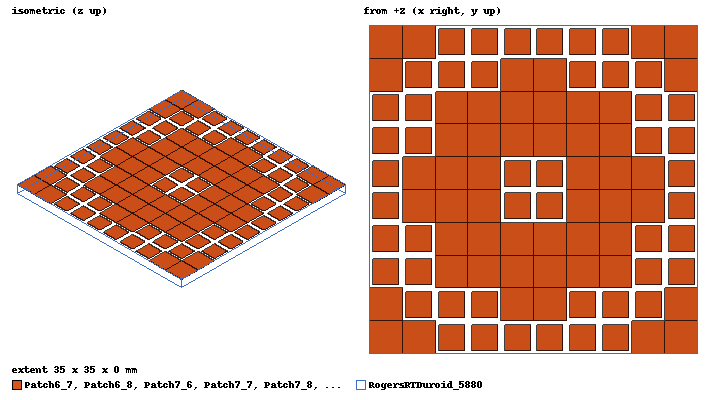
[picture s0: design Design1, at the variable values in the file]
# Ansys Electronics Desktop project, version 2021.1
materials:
  vacuum: permittivity=1

design Design1 (HFSS, DrivenModal, model units mm)
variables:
  X_sub = 3.5mm
  Y_sub = 3.5mm
  Z_sub = 1.57mm
  gap = 1mm
  Cop_T = 0.017mm
  m = 10
  n = 10
  X_offset = 3mm
  gap1_1 = 3.5mm
  gap1_2 = 3.5mm
  gap1_3 = 0.37019mm
  gap1_4 = 0.37019mm
  gap1_5 = 0.37019mm
  gap1_6 = 0.37019mm
  gap1_7 = 0.37019mm
  gap1_8 = 0.37019mm
  gap1_9 = 3.5mm
  gap1_10 = 3.5mm
  gap2_1 = 3.5mm
  gap2_2 = 0.37019mm
  gap2_3 = 0.37019mm
  gap2_4 = 0.37019mm
  gap2_5 = 3.5mm
  gap2_6 = 3.5mm
  gap2_7 = 0.37019mm
  gap2_8 = 0.37019mm
  gap2_9 = 0.37019mm
  gap2_10 = 3.5mm
  gap3_1 = 0.37019mm
  gap3_2 = 0.37019mm
  gap3_3 = 3.5mm
  gap3_4 = 3.5mm
  gap3_5 = 3.5mm
  gap3_6 = 3.5mm
  gap3_7 = 3.5mm
  gap3_8 = 3.5mm
  gap3_9 = 0.37019mm
  gap3_10 = 0.37019mm
  gap4_1 = 0.37019mm
  gap4_2 = 0.37019mm
  gap4_3 = 3.5mm
  gap4_4 = 3.5mm
  gap4_5 = 3.5mm
  gap4_6 = 3.5mm
  gap4_7 = 3.5mm
  gap4_8 = 3.5mm
  gap4_9 = 0.37019mm
  gap4_10 = 0.37019mm
  gap5_1 = 0.37019mm
  gap5_2 = 3.5mm
  gap5_3 = 3.5mm
  gap5_4 = 3.5mm
  gap5_5 = 0.37019mm
  gap5_6 = 0.37019mm
  gap5_7 = 3.5mm
  gap5_8 = 3.5mm
  gap5_9 = 3.5mm
  gap5_10 = 0.37019mm
  gap6_1 = 0.37019mm
  gap6_2 = 3.5mm
  gap6_3 = 3.5mm
  gap6_4 = 3.5mm
  gap6_5 = 0.37019mm
  gap6_6 = 0.37019mm
  gap6_7 = 3.5mm
  gap6_8 = 3.5mm
  gap6_9 = 3.5mm
  gap6_10 = 0.37019mm
  gap7_1 = 0.37019mm
  gap7_2 = 0.37019mm
  gap7_3 = 3.5mm
  gap7_4 = 3.5mm
  gap7_5 = 3.5mm
  gap7_6 = 3.5mm
  gap7_7 = 3.5mm
  gap7_8 = 3.5mm
  gap7_9 = 0.37019mm
  gap7_10 = 0.37019mm
  gap8_1 = 0.37019mm
  gap8_2 = 0.37019mm
  gap8_3 = 3.5mm
  gap8_4 = 3.5mm
  gap8_5 = 3.5mm
  gap8_6 = 3.5mm
  gap8_7 = 3.5mm
  gap8_8 = 3.5mm
  gap8_9 = 0.37019mm
  gap8_10 = 0.37019mm
  gap9_1 = 3.5mm
  gap9_2 = 0.37019mm
  gap9_3 = 0.37019mm
  gap9_4 = 0.37019mm
  gap9_5 = 3.5mm
  gap9_6 = 3.5mm
  gap9_7 = 0.37019mm
  gap9_8 = 0.37019mm
  gap9_9 = 0.37019mm
  gap9_10 = 3.5mm
  gap10_1 = 3.5mm
  gap10_2 = 3.5mm
  gap10_3 = 0.37019mm
  gap10_4 = 0.37019mm
  gap10_5 = 0.37019mm
  gap10_6 = 0.37019mm
  gap10_7 = 0.37019mm
  gap10_8 = 0.37019mm
  gap10_9 = 3.5mm
  gap10_10 = 3.5mm
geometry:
  RogersRTDuroid_5880 [vacuum] = box(corner=(0, 0, 0), size=(m*X_sub, n*Y_sub, Z_sub))
  Patch1_1 = polyline(z=Z_sub, xy: (gap1_1, gap1_1) (X_sub-gap1_1, gap1_1) (X_sub-gap1_1, Y_sub-gap1_1) (gap1_1, Y_sub-gap1_1) (gap1_1, gap1_1), closed, covered)
  Patch1_1.move(0+(1-1)*X_sub, 0+(1-1)*Y_sub, 0)
  Patch1_2 = polyline(z=Z_sub, xy: (gap1_2, gap1_2) (X_sub-gap1_2, gap1_2) (X_sub-gap1_2, Y_sub-gap1_2) (gap1_2, Y_sub-gap1_2) (gap1_2, gap1_2), closed, covered)
  Patch1_2.move(0+(1-1)*X_sub, 0+(2-1)*Y_sub, 0)
  Patch1_3 = polyline(z=Z_sub, xy: (gap1_3, gap1_3) (X_sub-gap1_3, gap1_3) (X_sub-gap1_3, Y_sub-gap1_3) (gap1_3, Y_sub-gap1_3) (gap1_3, gap1_3), closed, covered)
  Patch1_3.move(0+(1-1)*X_sub, 0+(3-1)*Y_sub, 0)
  Patch1_4 = polyline(z=Z_sub, xy: (gap1_4, gap1_4) (X_sub-gap1_4, gap1_4) (X_sub-gap1_4, Y_sub-gap1_4) (gap1_4, Y_sub-gap1_4) (gap1_4, gap1_4), closed, covered)
  Patch1_4.move(0+(1-1)*X_sub, 0+(4-1)*Y_sub, 0)
  Patch1_5 = polyline(z=Z_sub, xy: (gap1_5, gap1_5) (X_sub-gap1_5, gap1_5) (X_sub-gap1_5, Y_sub-gap1_5) (gap1_5, Y_sub-gap1_5) (gap1_5, gap1_5), closed, covered)
  Patch1_5.move(0+(1-1)*X_sub, 0+(5-1)*Y_sub, 0)
  Patch1_6 = polyline(z=Z_sub, xy: (gap1_6, gap1_6) (X_sub-gap1_6, gap1_6) (X_sub-gap1_6, Y_sub-gap1_6) (gap1_6, Y_sub-gap1_6) (gap1_6, gap1_6), closed, covered)
  Patch1_6.move(0+(1-1)*X_sub, 0+(6-1)*Y_sub, 0)
  Patch1_7 = polyline(z=Z_sub, xy: (gap1_7, gap1_7) (X_sub-gap1_7, gap1_7) (X_sub-gap1_7, Y_sub-gap1_7) (gap1_7, Y_sub-gap1_7) (gap1_7, gap1_7), closed, covered)
  Patch1_7.move(0+(1-1)*X_sub, 0+(7-1)*Y_sub, 0)
  Patch1_8 = polyline(z=Z_sub, xy: (gap1_8, gap1_8) (X_sub-gap1_8, gap1_8) (X_sub-gap1_8, Y_sub-gap1_8) (gap1_8, Y_sub-gap1_8) (gap1_8, gap1_8), closed, covered)
  Patch1_8.move(0+(1-1)*X_sub, 0+(8-1)*Y_sub, 0)
  Patch1_9 = polyline(z=Z_sub, xy: (gap1_9, gap1_9) (X_sub-gap1_9, gap1_9) (X_sub-gap1_9, Y_sub-gap1_9) (gap1_9, Y_sub-gap1_9) (gap1_9, gap1_9), closed, covered)
  Patch1_9.move(0+(1-1)*X_sub, 0+(9-1)*Y_sub, 0)
  Patch1_10 = polyline(z=Z_sub, xy: (gap1_10, gap1_10) (X_sub-gap1_10, gap1_10) (X_sub-gap1_10, Y_sub-gap1_10) (gap1_10, Y_sub-gap1_10) (gap1_10, gap1_10), closed, covered)
  Patch1_10.move(0+(1-1)*X_sub, 0+(10-1)*Y_sub, 0)
  Patch2_1 = polyline(z=Z_sub, xy: (gap2_1, gap2_1) (X_sub-gap2_1, gap2_1) (X_sub-gap2_1, Y_sub-gap2_1) (gap2_1, Y_sub-gap2_1) (gap2_1, gap2_1), closed, covered)
  Patch2_1.move(0+(2-1)*X_sub, 0+(1-1)*Y_sub, 0)
  Patch2_2 = polyline(z=Z_sub, xy: (gap2_2, gap2_2) (X_sub-gap2_2, gap2_2) (X_sub-gap2_2, Y_sub-gap2_2) (gap2_2, Y_sub-gap2_2) (gap2_2, gap2_2), closed, covered)
  Patch2_2.move(0+(2-1)*X_sub, 0+(2-1)*Y_sub, 0)
  Patch2_3 = polyline(z=Z_sub, xy: (gap2_3, gap2_3) (X_sub-gap2_3, gap2_3) (X_sub-gap2_3, Y_sub-gap2_3) (gap2_3, Y_sub-gap2_3) (gap2_3, gap2_3), closed, covered)
  Patch2_3.move(0+(2-1)*X_sub, 0+(3-1)*Y_sub, 0)
  Patch2_4 = polyline(z=Z_sub, xy: (gap2_4, gap2_4) (X_sub-gap2_4, gap2_4) (X_sub-gap2_4, Y_sub-gap2_4) (gap2_4, Y_sub-gap2_4) (gap2_4, gap2_4), closed, covered)
  Patch2_4.move(0+(2-1)*X_sub, 0+(4-1)*Y_sub, 0)
  Patch2_5 = polyline(z=Z_sub, xy: (gap2_5, gap2_5) (X_sub-gap2_5, gap2_5) (X_sub-gap2_5, Y_sub-gap2_5) (gap2_5, Y_sub-gap2_5) (gap2_5, gap2_5), closed, covered)
  Patch2_5.move(0+(2-1)*X_sub, 0+(5-1)*Y_sub, 0)
  Patch2_6 = polyline(z=Z_sub, xy: (gap2_6, gap2_6) (X_sub-gap2_6, gap2_6) (X_sub-gap2_6, Y_sub-gap2_6) (gap2_6, Y_sub-gap2_6) (gap2_6, gap2_6), closed, covered)
  Patch2_6.move(0+(2-1)*X_sub, 0+(6-1)*Y_sub, 0)
  Patch2_7 = polyline(z=Z_sub, xy: (gap2_7, gap2_7) (X_sub-gap2_7, gap2_7) (X_sub-gap2_7, Y_sub-gap2_7) (gap2_7, Y_sub-gap2_7) (gap2_7, gap2_7), closed, covered)
  Patch2_7.move(0+(2-1)*X_sub, 0+(7-1)*Y_sub, 0)
  Patch2_8 = polyline(z=Z_sub, xy: (gap2_8, gap2_8) (X_sub-gap2_8, gap2_8) (X_sub-gap2_8, Y_sub-gap2_8) (gap2_8, Y_sub-gap2_8) (gap2_8, gap2_8), closed, covered)
  Patch2_8.move(0+(2-1)*X_sub, 0+(8-1)*Y_sub, 0)
  Patch2_9 = polyline(z=Z_sub, xy: (gap2_9, gap2_9) (X_sub-gap2_9, gap2_9) (X_sub-gap2_9, Y_sub-gap2_9) (gap2_9, Y_sub-gap2_9) (gap2_9, gap2_9), closed, covered)
  Patch2_9.move(0+(2-1)*X_sub, 0+(9-1)*Y_sub, 0)
  Patch2_10 = polyline(z=Z_sub, xy: (gap2_10, gap2_10) (X_sub-gap2_10, gap2_10) (X_sub-gap2_10, Y_sub-gap2_10) (gap2_10, Y_sub-gap2_10) (gap2_10, gap2_10), closed, covered)
  Patch2_10.move(0+(2-1)*X_sub, 0+(10-1)*Y_sub, 0)
  Patch3_1 = polyline(z=Z_sub, xy: (gap3_1, gap3_1) (X_sub-gap3_1, gap3_1) (X_sub-gap3_1, Y_sub-gap3_1) (gap3_1, Y_sub-gap3_1) (gap3_1, gap3_1), closed, covered)
  Patch3_1.move(0+(3-1)*X_sub, 0+(1-1)*Y_sub, 0)
  Patch3_2 = polyline(z=Z_sub, xy: (gap3_2, gap3_2) (X_sub-gap3_2, gap3_2) (X_sub-gap3_2, Y_sub-gap3_2) (gap3_2, Y_sub-gap3_2) (gap3_2, gap3_2), closed, covered)
  Patch3_2.move(0+(3-1)*X_sub, 0+(2-1)*Y_sub, 0)
  Patch3_3 = polyline(z=Z_sub, xy: (gap3_3, gap3_3) (X_sub-gap3_3, gap3_3) (X_sub-gap3_3, Y_sub-gap3_3) (gap3_3, Y_sub-gap3_3) (gap3_3, gap3_3), closed, covered)
  Patch3_3.move(0+(3-1)*X_sub, 0+(3-1)*Y_sub, 0)
  Patch3_4 = polyline(z=Z_sub, xy: (gap3_4, gap3_4) (X_sub-gap3_4, gap3_4) (X_sub-gap3_4, Y_sub-gap3_4) (gap3_4, Y_sub-gap3_4) (gap3_4, gap3_4), closed, covered)
  Patch3_4.move(0+(3-1)*X_sub, 0+(4-1)*Y_sub, 0)
  Patch3_5 = polyline(z=Z_sub, xy: (gap3_5, gap3_5) (X_sub-gap3_5, gap3_5) (X_sub-gap3_5, Y_sub-gap3_5) (gap3_5, Y_sub-gap3_5) (gap3_5, gap3_5), closed, covered)
  Patch3_5.move(0+(3-1)*X_sub, 0+(5-1)*Y_sub, 0)
  Patch3_6 = polyline(z=Z_sub, xy: (gap3_6, gap3_6) (X_sub-gap3_6, gap3_6) (X_sub-gap3_6, Y_sub-gap3_6) (gap3_6, Y_sub-gap3_6) (gap3_6, gap3_6), closed, covered)
  Patch3_6.move(0+(3-1)*X_sub, 0+(6-1)*Y_sub, 0)
  Patch3_7 = polyline(z=Z_sub, xy: (gap3_7, gap3_7) (X_sub-gap3_7, gap3_7) (X_sub-gap3_7, Y_sub-gap3_7) (gap3_7, Y_sub-gap3_7) (gap3_7, gap3_7), closed, covered)
  Patch3_7.move(0+(3-1)*X_sub, 0+(7-1)*Y_sub, 0)
  Patch3_8 = polyline(z=Z_sub, xy: (gap3_8, gap3_8) (X_sub-gap3_8, gap3_8) (X_sub-gap3_8, Y_sub-gap3_8) (gap3_8, Y_sub-gap3_8) (gap3_8, gap3_8), closed, covered)
  Patch3_8.move(0+(3-1)*X_sub, 0+(8-1)*Y_sub, 0)
  Patch3_9 = polyline(z=Z_sub, xy: (gap3_9, gap3_9) (X_sub-gap3_9, gap3_9) (X_sub-gap3_9, Y_sub-gap3_9) (gap3_9, Y_sub-gap3_9) (gap3_9, gap3_9), closed, covered)
  Patch3_9.move(0+(3-1)*X_sub, 0+(9-1)*Y_sub, 0)
  Patch3_10 = polyline(z=Z_sub, xy: (gap3_10, gap3_10) (X_sub-gap3_10, gap3_10) (X_sub-gap3_10, Y_sub-gap3_10) (gap3_10, Y_sub-gap3_10) (gap3_10, gap3_10), closed, covered)
  Patch3_10.move(0+(3-1)*X_sub, 0+(10-1)*Y_sub, 0)
  Patch4_1 = polyline(z=Z_sub, xy: (gap4_1, gap4_1) (X_sub-gap4_1, gap4_1) (X_sub-gap4_1, Y_sub-gap4_1) (gap4_1, Y_sub-gap4_1) (gap4_1, gap4_1), closed, covered)
  Patch4_1.move(0+(4-1)*X_sub, 0+(1-1)*Y_sub, 0)
  Patch4_2 = polyline(z=Z_sub, xy: (gap4_2, gap4_2) (X_sub-gap4_2, gap4_2) (X_sub-gap4_2, Y_sub-gap4_2) (gap4_2, Y_sub-gap4_2) (gap4_2, gap4_2), closed, covered)
  Patch4_2.move(0+(4-1)*X_sub, 0+(2-1)*Y_sub, 0)
  Patch4_3 = polyline(z=Z_sub, xy: (gap4_3, gap4_3) (X_sub-gap4_3, gap4_3) (X_sub-gap4_3, Y_sub-gap4_3) (gap4_3, Y_sub-gap4_3) (gap4_3, gap4_3), closed, covered)
  Patch4_3.move(0+(4-1)*X_sub, 0+(3-1)*Y_sub, 0)
  Patch4_4 = polyline(z=Z_sub, xy: (gap4_4, gap4_4) (X_sub-gap4_4, gap4_4) (X_sub-gap4_4, Y_sub-gap4_4) (gap4_4, Y_sub-gap4_4) (gap4_4, gap4_4), closed, covered)
  Patch4_4.move(0+(4-1)*X_sub, 0+(4-1)*Y_sub, 0)
  Patch4_5 = polyline(z=Z_sub, xy: (gap4_5, gap4_5) (X_sub-gap4_5, gap4_5) (X_sub-gap4_5, Y_sub-gap4_5) (gap4_5, Y_sub-gap4_5) (gap4_5, gap4_5), closed, covered)
  Patch4_5.move(0+(4-1)*X_sub, 0+(5-1)*Y_sub, 0)
  Patch4_6 = polyline(z=Z_sub, xy: (gap4_6, gap4_6) (X_sub-gap4_6, gap4_6) (X_sub-gap4_6, Y_sub-gap4_6) (gap4_6, Y_sub-gap4_6) (gap4_6, gap4_6), closed, covered)
  Patch4_6.move(0+(4-1)*X_sub, 0+(6-1)*Y_sub, 0)
  Patch4_7 = polyline(z=Z_sub, xy: (gap4_7, gap4_7) (X_sub-gap4_7, gap4_7) (X_sub-gap4_7, Y_sub-gap4_7) (gap4_7, Y_sub-gap4_7) (gap4_7, gap4_7), closed, covered)
  Patch4_7.move(0+(4-1)*X_sub, 0+(7-1)*Y_sub, 0)
  Patch4_8 = polyline(z=Z_sub, xy: (gap4_8, gap4_8) (X_sub-gap4_8, gap4_8) (X_sub-gap4_8, Y_sub-gap4_8) (gap4_8, Y_sub-gap4_8) (gap4_8, gap4_8), closed, covered)
  Patch4_8.move(0+(4-1)*X_sub, 0+(8-1)*Y_sub, 0)
  Patch4_9 = polyline(z=Z_sub, xy: (gap4_9, gap4_9) (X_sub-gap4_9, gap4_9) (X_sub-gap4_9, Y_sub-gap4_9) (gap4_9, Y_sub-gap4_9) (gap4_9, gap4_9), closed, covered)
  Patch4_9.move(0+(4-1)*X_sub, 0+(9-1)*Y_sub, 0)
  Patch4_10 = polyline(z=Z_sub, xy: (gap4_10, gap4_10) (X_sub-gap4_10, gap4_10) (X_sub-gap4_10, Y_sub-gap4_10) (gap4_10, Y_sub-gap4_10) (gap4_10, gap4_10), closed, covered)
  Patch4_10.move(0+(4-1)*X_sub, 0+(10-1)*Y_sub, 0)
  Patch5_1 = polyline(z=Z_sub, xy: (gap5_1, gap5_1) (X_sub-gap5_1, gap5_1) (X_sub-gap5_1, Y_sub-gap5_1) (gap5_1, Y_sub-gap5_1) (gap5_1, gap5_1), closed, covered)
  Patch5_1.move(0+(5-1)*X_sub, 0+(1-1)*Y_sub, 0)
  Patch5_2 = polyline(z=Z_sub, xy: (gap5_2, gap5_2) (X_sub-gap5_2, gap5_2) (X_sub-gap5_2, Y_sub-gap5_2) (gap5_2, Y_sub-gap5_2) (gap5_2, gap5_2), closed, covered)
  Patch5_2.move(0+(5-1)*X_sub, 0+(2-1)*Y_sub, 0)
  Patch5_3 = polyline(z=Z_sub, xy: (gap5_3, gap5_3) (X_sub-gap5_3, gap5_3) (X_sub-gap5_3, Y_sub-gap5_3) (gap5_3, Y_sub-gap5_3) (gap5_3, gap5_3), closed, covered)
  Patch5_3.move(0+(5-1)*X_sub, 0+(3-1)*Y_sub, 0)
  Patch5_4 = polyline(z=Z_sub, xy: (gap5_4, gap5_4) (X_sub-gap5_4, gap5_4) (X_sub-gap5_4, Y_sub-gap5_4) (gap5_4, Y_sub-gap5_4) (gap5_4, gap5_4), closed, covered)
  Patch5_4.move(0+(5-1)*X_sub, 0+(4-1)*Y_sub, 0)
  Patch5_5 = polyline(z=Z_sub, xy: (gap5_5, gap5_5) (X_sub-gap5_5, gap5_5) (X_sub-gap5_5, Y_sub-gap5_5) (gap5_5, Y_sub-gap5_5) (gap5_5, gap5_5), closed, covered)
  Patch5_5.move(0+(5-1)*X_sub, 0+(5-1)*Y_sub, 0)
  Patch5_6 = polyline(z=Z_sub, xy: (gap5_6, gap5_6) (X_sub-gap5_6, gap5_6) (X_sub-gap5_6, Y_sub-gap5_6) (gap5_6, Y_sub-gap5_6) (gap5_6, gap5_6), closed, covered)
  Patch5_6.move(0+(5-1)*X_sub, 0+(6-1)*Y_sub, 0)
  Patch5_7 = polyline(z=Z_sub, xy: (gap5_7, gap5_7) (X_sub-gap5_7, gap5_7) (X_sub-gap5_7, Y_sub-gap5_7) (gap5_7, Y_sub-gap5_7) (gap5_7, gap5_7), closed, covered)
  Patch5_7.move(0+(5-1)*X_sub, 0+(7-1)*Y_sub, 0)
  Patch5_8 = polyline(z=Z_sub, xy: (gap5_8, gap5_8) (X_sub-gap5_8, gap5_8) (X_sub-gap5_8, Y_sub-gap5_8) (gap5_8, Y_sub-gap5_8) (gap5_8, gap5_8), closed, covered)
  Patch5_8.move(0+(5-1)*X_sub, 0+(8-1)*Y_sub, 0)
  Patch5_9 = polyline(z=Z_sub, xy: (gap5_9, gap5_9) (X_sub-gap5_9, gap5_9) (X_sub-gap5_9, Y_sub-gap5_9) (gap5_9, Y_sub-gap5_9) (gap5_9, gap5_9), closed, covered)
  Patch5_9.move(0+(5-1)*X_sub, 0+(9-1)*Y_sub, 0)
  Patch5_10 = polyline(z=Z_sub, xy: (gap5_10, gap5_10) (X_sub-gap5_10, gap5_10) (X_sub-gap5_10, Y_sub-gap5_10) (gap5_10, Y_sub-gap5_10) (gap5_10, gap5_10), closed, covered)
  Patch5_10.move(0+(5-1)*X_sub, 0+(10-1)*Y_sub, 0)
  Patch6_1 = polyline(z=Z_sub, xy: (gap6_1, gap6_1) (X_sub-gap6_1, gap6_1) (X_sub-gap6_1, Y_sub-gap6_1) (gap6_1, Y_sub-gap6_1) (gap6_1, gap6_1), closed, covered)
  Patch6_1.move(0+(6-1)*X_sub, 0+(1-1)*Y_sub, 0)
  Patch6_2 = polyline(z=Z_sub, xy: (gap6_2, gap6_2) (X_sub-gap6_2, gap6_2) (X_sub-gap6_2, Y_sub-gap6_2) (gap6_2, Y_sub-gap6_2) (gap6_2, gap6_2), closed, covered)
  Patch6_2.move(0+(6-1)*X_sub, 0+(2-1)*Y_sub, 0)
  Patch6_3 = polyline(z=Z_sub, xy: (gap6_3, gap6_3) (X_sub-gap6_3, gap6_3) (X_sub-gap6_3, Y_sub-gap6_3) (gap6_3, Y_sub-gap6_3) (gap6_3, gap6_3), closed, covered)
  Patch6_3.move(0+(6-1)*X_sub, 0+(3-1)*Y_sub, 0)
  Patch6_4 = polyline(z=Z_sub, xy: (gap6_4, gap6_4) (X_sub-gap6_4, gap6_4) (X_sub-gap6_4, Y_sub-gap6_4) (gap6_4, Y_sub-gap6_4) (gap6_4, gap6_4), closed, covered)
  Patch6_4.move(0+(6-1)*X_sub, 0+(4-1)*Y_sub, 0)
  Patch6_5 = polyline(z=Z_sub, xy: (gap6_5, gap6_5) (X_sub-gap6_5, gap6_5) (X_sub-gap6_5, Y_sub-gap6_5) (gap6_5, Y_sub-gap6_5) (gap6_5, gap6_5), closed, covered)
  Patch6_5.move(0+(6-1)*X_sub, 0+(5-1)*Y_sub, 0)
  Patch6_6 = polyline(z=Z_sub, xy: (gap6_6, gap6_6) (X_sub-gap6_6, gap6_6) (X_sub-gap6_6, Y_sub-gap6_6) (gap6_6, Y_sub-gap6_6) (gap6_6, gap6_6), closed, covered)
  Patch6_6.move(0+(6-1)*X_sub, 0+(6-1)*Y_sub, 0)
  Patch6_7 = polyline(z=Z_sub, xy: (gap6_7, gap6_7) (X_sub-gap6_7, gap6_7) (X_sub-gap6_7, Y_sub-gap6_7) (gap6_7, Y_sub-gap6_7) (gap6_7, gap6_7), closed, covered)
  Patch6_7.move(0+(6-1)*X_sub, 0+(7-1)*Y_sub, 0)
  Patch6_8 = polyline(z=Z_sub, xy: (gap6_8, gap6_8) (X_sub-gap6_8, gap6_8) (X_sub-gap6_8, Y_sub-gap6_8) (gap6_8, Y_sub-gap6_8) (gap6_8, gap6_8), closed, covered)
  Patch6_8.move(0+(6-1)*X_sub, 0+(8-1)*Y_sub, 0)
  Patch6_9 = polyline(z=Z_sub, xy: (gap6_9, gap6_9) (X_sub-gap6_9, gap6_9) (X_sub-gap6_9, Y_sub-gap6_9) (gap6_9, Y_sub-gap6_9) (gap6_9, gap6_9), closed, covered)
  Patch6_9.move(0+(6-1)*X_sub, 0+(9-1)*Y_sub, 0)
  Patch6_10 = polyline(z=Z_sub, xy: (gap6_10, gap6_10) (X_sub-gap6_10, gap6_10) (X_sub-gap6_10, Y_sub-gap6_10) (gap6_10, Y_sub-gap6_10) (gap6_10, gap6_10), closed, covered)
  Patch6_10.move(0+(6-1)*X_sub, 0+(10-1)*Y_sub, 0)
  Patch7_1 = polyline(z=Z_sub, xy: (gap7_1, gap7_1) (X_sub-gap7_1, gap7_1) (X_sub-gap7_1, Y_sub-gap7_1) (gap7_1, Y_sub-gap7_1) (gap7_1, gap7_1), closed, covered)
  Patch7_1.move(0+(7-1)*X_sub, 0+(1-1)*Y_sub, 0)
  Patch7_2 = polyline(z=Z_sub, xy: (gap7_2, gap7_2) (X_sub-gap7_2, gap7_2) (X_sub-gap7_2, Y_sub-gap7_2) (gap7_2, Y_sub-gap7_2) (gap7_2, gap7_2), closed, covered)
  Patch7_2.move(0+(7-1)*X_sub, 0+(2-1)*Y_sub, 0)
  Patch7_3 = polyline(z=Z_sub, xy: (gap7_3, gap7_3) (X_sub-gap7_3, gap7_3) (X_sub-gap7_3, Y_sub-gap7_3) (gap7_3, Y_sub-gap7_3) (gap7_3, gap7_3), closed, covered)
  Patch7_3.move(0+(7-1)*X_sub, 0+(3-1)*Y_sub, 0)
  Patch7_4 = polyline(z=Z_sub, xy: (gap7_4, gap7_4) (X_sub-gap7_4, gap7_4) (X_sub-gap7_4, Y_sub-gap7_4) (gap7_4, Y_sub-gap7_4) (gap7_4, gap7_4), closed, covered)
  Patch7_4.move(0+(7-1)*X_sub, 0+(4-1)*Y_sub, 0)
  Patch7_5 = polyline(z=Z_sub, xy: (gap7_5, gap7_5) (X_sub-gap7_5, gap7_5) (X_sub-gap7_5, Y_sub-gap7_5) (gap7_5, Y_sub-gap7_5) (gap7_5, gap7_5), closed, covered)
  Patch7_5.move(0+(7-1)*X_sub, 0+(5-1)*Y_sub, 0)
  Patch7_6 = polyline(z=Z_sub, xy: (gap7_6, gap7_6) (X_sub-gap7_6, gap7_6) (X_sub-gap7_6, Y_sub-gap7_6) (gap7_6, Y_sub-gap7_6) (gap7_6, gap7_6), closed, covered)
  Patch7_6.move(0+(7-1)*X_sub, 0+(6-1)*Y_sub, 0)
  Patch7_7 = polyline(z=Z_sub, xy: (gap7_7, gap7_7) (X_sub-gap7_7, gap7_7) (X_sub-gap7_7, Y_sub-gap7_7) (gap7_7, Y_sub-gap7_7) (gap7_7, gap7_7), closed, covered)
  Patch7_7.move(0+(7-1)*X_sub, 0+(7-1)*Y_sub, 0)
  Patch7_8 = polyline(z=Z_sub, xy: (gap7_8, gap7_8) (X_sub-gap7_8, gap7_8) (X_sub-gap7_8, Y_sub-gap7_8) (gap7_8, Y_sub-gap7_8) (gap7_8, gap7_8), closed, covered)
  Patch7_8.move(0+(7-1)*X_sub, 0+(8-1)*Y_sub, 0)
  Patch7_9 = polyline(z=Z_sub, xy: (gap7_9, gap7_9) (X_sub-gap7_9, gap7_9) (X_sub-gap7_9, Y_sub-gap7_9) (gap7_9, Y_sub-gap7_9) (gap7_9, gap7_9), closed, covered)
  Patch7_9.move(0+(7-1)*X_sub, 0+(9-1)*Y_sub, 0)
  Patch7_10 = polyline(z=Z_sub, xy: (gap7_10, gap7_10) (X_sub-gap7_10, gap7_10) (X_sub-gap7_10, Y_sub-gap7_10) (gap7_10, Y_sub-gap7_10) (gap7_10, gap7_10), closed, covered)
  Patch7_10.move(0+(7-1)*X_sub, 0+(10-1)*Y_sub, 0)
  Patch8_1 = polyline(z=Z_sub, xy: (gap8_1, gap8_1) (X_sub-gap8_1, gap8_1) (X_sub-gap8_1, Y_sub-gap8_1) (gap8_1, Y_sub-gap8_1) (gap8_1, gap8_1), closed, covered)
  Patch8_1.move(0+(8-1)*X_sub, 0+(1-1)*Y_sub, 0)
  Patch8_2 = polyline(z=Z_sub, xy: (gap8_2, gap8_2) (X_sub-gap8_2, gap8_2) (X_sub-gap8_2, Y_sub-gap8_2) (gap8_2, Y_sub-gap8_2) (gap8_2, gap8_2), closed, covered)
  Patch8_2.move(0+(8-1)*X_sub, 0+(2-1)*Y_sub, 0)
  Patch8_3 = polyline(z=Z_sub, xy: (gap8_3, gap8_3) (X_sub-gap8_3, gap8_3) (X_sub-gap8_3, Y_sub-gap8_3) (gap8_3, Y_sub-gap8_3) (gap8_3, gap8_3), closed, covered)
  Patch8_3.move(0+(8-1)*X_sub, 0+(3-1)*Y_sub, 0)
  Patch8_4 = polyline(z=Z_sub, xy: (gap8_4, gap8_4) (X_sub-gap8_4, gap8_4) (X_sub-gap8_4, Y_sub-gap8_4) (gap8_4, Y_sub-gap8_4) (gap8_4, gap8_4), closed, covered)
  Patch8_4.move(0+(8-1)*X_sub, 0+(4-1)*Y_sub, 0)
  Patch8_5 = polyline(z=Z_sub, xy: (gap8_5, gap8_5) (X_sub-gap8_5, gap8_5) (X_sub-gap8_5, Y_sub-gap8_5) (gap8_5, Y_sub-gap8_5) (gap8_5, gap8_5), closed, covered)
  Patch8_5.move(0+(8-1)*X_sub, 0+(5-1)*Y_sub, 0)
  Patch8_6 = polyline(z=Z_sub, xy: (gap8_6, gap8_6) (X_sub-gap8_6, gap8_6) (X_sub-gap8_6, Y_sub-gap8_6) (gap8_6, Y_sub-gap8_6) (gap8_6, gap8_6), closed, covered)
  Patch8_6.move(0+(8-1)*X_sub, 0+(6-1)*Y_sub, 0)
  Patch8_7 = polyline(z=Z_sub, xy: (gap8_7, gap8_7) (X_sub-gap8_7, gap8_7) (X_sub-gap8_7, Y_sub-gap8_7) (gap8_7, Y_sub-gap8_7) (gap8_7, gap8_7), closed, covered)
  Patch8_7.move(0+(8-1)*X_sub, 0+(7-1)*Y_sub, 0)
  Patch8_8 = polyline(z=Z_sub, xy: (gap8_8, gap8_8) (X_sub-gap8_8, gap8_8) (X_sub-gap8_8, Y_sub-gap8_8) (gap8_8, Y_sub-gap8_8) (gap8_8, gap8_8), closed, covered)
  Patch8_8.move(0+(8-1)*X_sub, 0+(8-1)*Y_sub, 0)
  Patch8_9 = polyline(z=Z_sub, xy: (gap8_9, gap8_9) (X_sub-gap8_9, gap8_9) (X_sub-gap8_9, Y_sub-gap8_9) (gap8_9, Y_sub-gap8_9) (gap8_9, gap8_9), closed, covered)
  Patch8_9.move(0+(8-1)*X_sub, 0+(9-1)*Y_sub, 0)
  Patch8_10 = polyline(z=Z_sub, xy: (gap8_10, gap8_10) (X_sub-gap8_10, gap8_10) (X_sub-gap8_10, Y_sub-gap8_10) (gap8_10, Y_sub-gap8_10) (gap8_10, gap8_10), closed, covered)
  Patch8_10.move(0+(8-1)*X_sub, 0+(10-1)*Y_sub, 0)
  Patch9_1 = polyline(z=Z_sub, xy: (gap9_1, gap9_1) (X_sub-gap9_1, gap9_1) (X_sub-gap9_1, Y_sub-gap9_1) (gap9_1, Y_sub-gap9_1) (gap9_1, gap9_1), closed, covered)
  Patch9_1.move(0+(9-1)*X_sub, 0+(1-1)*Y_sub, 0)
  Patch9_2 = polyline(z=Z_sub, xy: (gap9_2, gap9_2) (X_sub-gap9_2, gap9_2) (X_sub-gap9_2, Y_sub-gap9_2) (gap9_2, Y_sub-gap9_2) (gap9_2, gap9_2), closed, covered)
  Patch9_2.move(0+(9-1)*X_sub, 0+(2-1)*Y_sub, 0)
  Patch9_3 = polyline(z=Z_sub, xy: (gap9_3, gap9_3) (X_sub-gap9_3, gap9_3) (X_sub-gap9_3, Y_sub-gap9_3) (gap9_3, Y_sub-gap9_3) (gap9_3, gap9_3), closed, covered)
  Patch9_3.move(0+(9-1)*X_sub, 0+(3-1)*Y_sub, 0)
  Patch9_4 = polyline(z=Z_sub, xy: (gap9_4, gap9_4) (X_sub-gap9_4, gap9_4) (X_sub-gap9_4, Y_sub-gap9_4) (gap9_4, Y_sub-gap9_4) (gap9_4, gap9_4), closed, covered)
  Patch9_4.move(0+(9-1)*X_sub, 0+(4-1)*Y_sub, 0)
  Patch9_5 = polyline(z=Z_sub, xy: (gap9_5, gap9_5) (X_sub-gap9_5, gap9_5) (X_sub-gap9_5, Y_sub-gap9_5) (gap9_5, Y_sub-gap9_5) (gap9_5, gap9_5), closed, covered)
  Patch9_5.move(0+(9-1)*X_sub, 0+(5-1)*Y_sub, 0)
  Patch9_6 = polyline(z=Z_sub, xy: (gap9_6, gap9_6) (X_sub-gap9_6, gap9_6) (X_sub-gap9_6, Y_sub-gap9_6) (gap9_6, Y_sub-gap9_6) (gap9_6, gap9_6), closed, covered)
  Patch9_6.move(0+(9-1)*X_sub, 0+(6-1)*Y_sub, 0)
  Patch9_7 = polyline(z=Z_sub, xy: (gap9_7, gap9_7) (X_sub-gap9_7, gap9_7) (X_sub-gap9_7, Y_sub-gap9_7) (gap9_7, Y_sub-gap9_7) (gap9_7, gap9_7), closed, covered)
  Patch9_7.move(0+(9-1)*X_sub, 0+(7-1)*Y_sub, 0)
  Patch9_8 = polyline(z=Z_sub, xy: (gap9_8, gap9_8) (X_sub-gap9_8, gap9_8) (X_sub-gap9_8, Y_sub-gap9_8) (gap9_8, Y_sub-gap9_8) (gap9_8, gap9_8), closed, covered)
  Patch9_8.move(0+(9-1)*X_sub, 0+(8-1)*Y_sub, 0)
  Patch9_9 = polyline(z=Z_sub, xy: (gap9_9, gap9_9) (X_sub-gap9_9, gap9_9) (X_sub-gap9_9, Y_sub-gap9_9) (gap9_9, Y_sub-gap9_9) (gap9_9, gap9_9), closed, covered)
  Patch9_9.move(0+(9-1)*X_sub, 0+(9-1)*Y_sub, 0)
  Patch9_10 = polyline(z=Z_sub, xy: (gap9_10, gap9_10) (X_sub-gap9_10, gap9_10) (X_sub-gap9_10, Y_sub-gap9_10) (gap9_10, Y_sub-gap9_10) (gap9_10, gap9_10), closed, covered)
  Patch9_10.move(0+(9-1)*X_sub, 0+(10-1)*Y_sub, 0)
  Patch10_1 = polyline(z=Z_sub, xy: (gap10_1, gap10_1) (X_sub-gap10_1, gap10_1) (X_sub-gap10_1, Y_sub-gap10_1) (gap10_1, Y_sub-gap10_1) (gap10_1, gap10_1), closed, covered)
  Patch10_1.move(0+(10-1)*X_sub, 0+(1-1)*Y_sub, 0)
  Patch10_2 = polyline(z=Z_sub, xy: (gap10_2, gap10_2) (X_sub-gap10_2, gap10_2) (X_sub-gap10_2, Y_sub-gap10_2) (gap10_2, Y_sub-gap10_2) (gap10_2, gap10_2), closed, covered)
  Patch10_2.move(0+(10-1)*X_sub, 0+(2-1)*Y_sub, 0)
  Patch10_3 = polyline(z=Z_sub, xy: (gap10_3, gap10_3) (X_sub-gap10_3, gap10_3) (X_sub-gap10_3, Y_sub-gap10_3) (gap10_3, Y_sub-gap10_3) (gap10_3, gap10_3), closed, covered)
  Patch10_3.move(0+(10-1)*X_sub, 0+(3-1)*Y_sub, 0)
  Patch10_4 = polyline(z=Z_sub, xy: (gap10_4, gap10_4) (X_sub-gap10_4, gap10_4) (X_sub-gap10_4, Y_sub-gap10_4) (gap10_4, Y_sub-gap10_4) (gap10_4, gap10_4), closed, covered)
  Patch10_4.move(0+(10-1)*X_sub, 0+(4-1)*Y_sub, 0)
  Patch10_5 = polyline(z=Z_sub, xy: (gap10_5, gap10_5) (X_sub-gap10_5, gap10_5) (X_sub-gap10_5, Y_sub-gap10_5) (gap10_5, Y_sub-gap10_5) (gap10_5, gap10_5), closed, covered)
  Patch10_5.move(0+(10-1)*X_sub, 0+(5-1)*Y_sub, 0)
  Patch10_6 = polyline(z=Z_sub, xy: (gap10_6, gap10_6) (X_sub-gap10_6, gap10_6) (X_sub-gap10_6, Y_sub-gap10_6) (gap10_6, Y_sub-gap10_6) (gap10_6, gap10_6), closed, covered)
  Patch10_6.move(0+(10-1)*X_sub, 0+(6-1)*Y_sub, 0)
  Patch10_7 = polyline(z=Z_sub, xy: (gap10_7, gap10_7) (X_sub-gap10_7, gap10_7) (X_sub-gap10_7, Y_sub-gap10_7) (gap10_7, Y_sub-gap10_7) (gap10_7, gap10_7), closed, covered)
  Patch10_7.move(0+(10-1)*X_sub, 0+(7-1)*Y_sub, 0)
  Patch10_8 = polyline(z=Z_sub, xy: (gap10_8, gap10_8) (X_sub-gap10_8, gap10_8) (X_sub-gap10_8, Y_sub-gap10_8) (gap10_8, Y_sub-gap10_8) (gap10_8, gap10_8), closed, covered)
  Patch10_8.move(0+(10-1)*X_sub, 0+(8-1)*Y_sub, 0)
  Patch10_9 = polyline(z=Z_sub, xy: (gap10_9, gap10_9) (X_sub-gap10_9, gap10_9) (X_sub-gap10_9, Y_sub-gap10_9) (gap10_9, Y_sub-gap10_9) (gap10_9, gap10_9), closed, covered)
  Patch10_9.move(0+(10-1)*X_sub, 0+(9-1)*Y_sub, 0)
  Patch10_10 = polyline(z=Z_sub, xy: (gap10_10, gap10_10) (X_sub-gap10_10, gap10_10) (X_sub-gap10_10, Y_sub-gap10_10) (gap10_10, Y_sub-gap10_10) (gap10_10, gap10_10), closed, covered)
  Patch10_10.move(0+(10-1)*X_sub, 0+(10-1)*Y_sub, 0)
